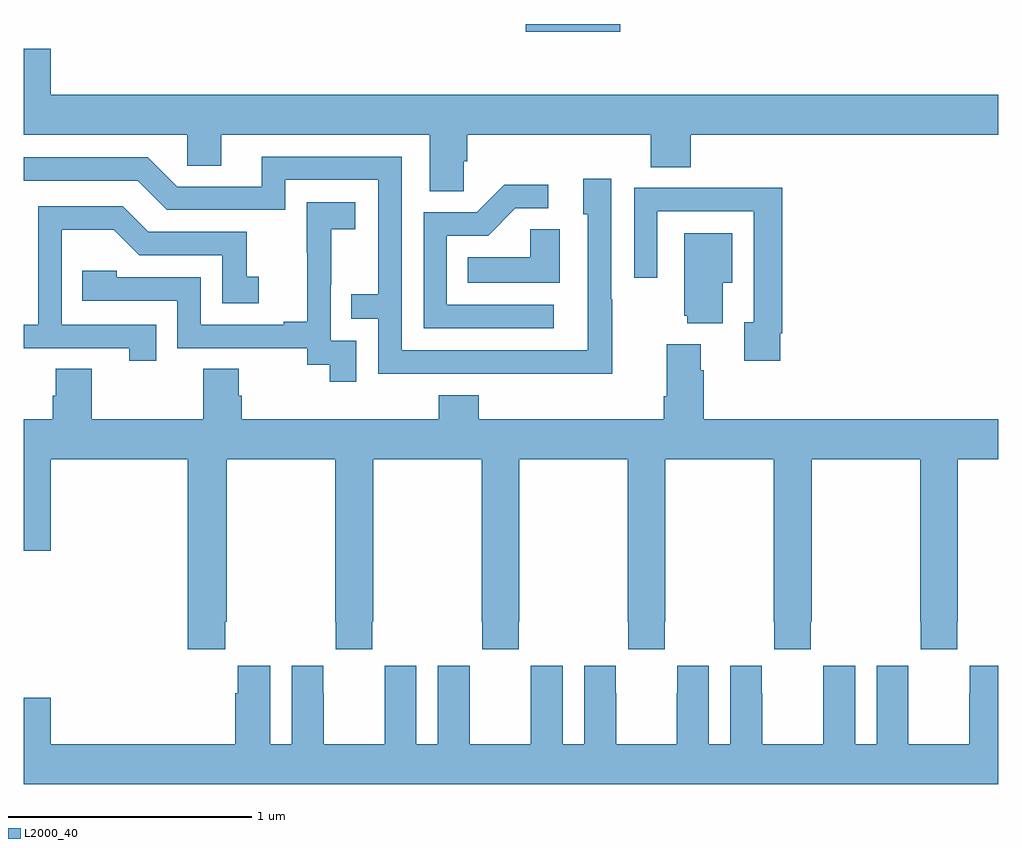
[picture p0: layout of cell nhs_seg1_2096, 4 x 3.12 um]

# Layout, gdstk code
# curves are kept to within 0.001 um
import gdstk
lib = gdstk.Library(unit=1e-6, precision=1e-09)
def R(c, l, rs):  # rectangles x0, y0, x1, y1
    for r in rs: c.add(gdstk.rectangle(r[:2], r[2:], *l))
def P(c, l, *ps):  # polygons
    for p in ps: c.add(gdstk.Polygon(p, *l))
L2000_40 = (2000, 40)

nhs_seg1_2096 = lib.new_cell('nhs_seg1_2096')
R(nhs_seg1_2096, L2000_40, [(227.06,540.167,227.449,540.199)])
P(nhs_seg1_2096, L2000_40, [(226.806,539.635),(226.82,539.635),(226.82,539.744),(227.573,539.744),(227.573,539.611),(227.738,539.611),(227.738,539.744),(229,539.744),(229,539.908),(225.112,539.908),(225.112,540.097),(225,540.097),(225,539.744),(225.672,539.744),(225.672,539.617),(225.811,539.617),(225.811,539.744),(226.667,539.744),(226.667,539.512),(226.806,539.512)],
  [(227.415,539.069),(227.412,539.069),(227.412,539.563),(227.297,539.563),(227.297,539.418),(227.316,539.418),(227.316,538.86),(226.551,538.86),(226.551,539.655),(225.977,539.655),(225.977,539.532),(225.63,539.532),(225.51,539.652),(225,539.652),(225,539.556),(225.468,539.556),(225.588,539.436),(226.074,539.436),(226.074,539.559),(226.455,539.559),(226.455,539.09),(226.345,539.09),(226.345,538.989),(226.455,538.989),(226.455,538.764),(227.415,538.763)],
  [(227.176,539.046),(226.737,539.046),(226.737,539.331),(226.906,539.331),(227.017,539.442),(227.152,539.442),(227.152,539.54),(226.973,539.54),(226.86,539.427),(226.641,539.427),(226.641,538.95),(227.176,538.95)],
  [(228.106,538.93),(228.113,538.93),(228.113,539.528),(227.821,539.528),(227.821,539.526),(227.505,539.526),(227.505,539.157),(227.601,539.157),(227.601,539.43),(227.997,539.43),(227.997,538.974),(227.957,538.974),(227.957,538.818),(228.106,538.818)],
  [(226.365,538.899),(226.26,538.899),(226.26,539.129),(226.262,539.129),(226.262,539.357),(226.36,539.357),(226.36,539.467),(226.162,539.467),(226.162,539.261),(226.163,539.261),(226.163,538.978),(226.067,538.978),(226.067,538.965),(225.726,538.965),(225.726,539.16),(225.381,539.16),(225.381,539.187),(225.241,539.187),(225.241,539.064),(225.63,539.064),(225.63,538.869),(226.164,538.869),(226.164,538.801),(226.257,538.801),(226.257,538.731),(226.365,538.731)],
  [(225.545,538.965),(225.156,538.965),(225.156,539.354),(225.37,539.354),(225.474,539.25),(225.816,539.25),(225.816,539.052),(225.964,539.052),(225.964,539.161),(225.915,539.161),(225.915,539.346),(225.511,539.346),(225.406,539.451),(225.06,539.451),(225.06,538.965),(225,538.965),(225,538.869),(225.434,538.869),(225.434,538.818),(225.545,538.818)],
  [(227.2,539.357),(227.079,539.357),(227.079,539.242),(226.822,539.242),(226.822,539.138),(227.2,539.138)],
  [(227.869,539.138),(227.908,539.138),(227.908,539.341),(227.711,539.341),(227.711,539.001),(227.723,539.001),(227.723,538.97),(227.869,538.97)],
  [(225.827,537.745),(225.834,537.745),(225.834,538.412),(226.279,538.412),(226.279,537.745),(226.281,537.745),(226.281,537.633),(226.431,537.633),(226.431,537.745),(226.434,537.745),(226.434,538.412),(226.879,538.412),(226.879,537.745),(226.881,537.745),(226.881,537.633),(227.031,537.633),(227.031,537.745),(227.034,537.745),(227.034,538.412),(227.479,538.412),(227.479,537.745),(227.481,537.745),(227.481,537.633),(227.631,537.633),(227.631,537.745),(227.634,537.745),(227.634,538.412),(228.079,538.412),(228.079,537.745),(228.081,537.745),(228.081,537.633),(228.231,537.633),(228.231,537.745),(228.234,537.745),(228.234,538.412),(228.679,538.412),(228.679,537.745),(228.681,537.745),(228.681,537.633),(228.831,537.633),(228.831,537.745),(228.834,537.745),(228.834,538.412),(229,538.412),(229,538.576),(227.792,538.576),(227.792,538.778),(227.779,538.778),(227.779,538.885),(227.639,538.885),(227.639,538.672),(227.627,538.672),(227.627,538.576),(226.868,538.576),(226.868,538.675),(226.703,538.675),(226.703,538.576),(225.896,538.576),(225.896,538.674),(225.883,538.674),(225.883,538.784),(225.736,538.784),(225.736,538.576),(225.279,538.576),(225.279,538.784),(225.131,538.784),(225.131,538.674),(225.119,538.674),(225.119,538.576),(225,538.576),(225,538.038),(225.112,538.038),(225.112,538.412),(225.674,538.412),(225.674,537.633),(225.827,537.633)],
  [(229,537.565),(228.882,537.565),(228.882,537.452),(228.881,537.452),(228.881,537.244),(228.631,537.244),(228.631,537.452),(228.63,537.452),(228.63,537.565),(228.5,537.565),(228.5,537.244),(228.412,537.244),(228.412,537.565),(228.282,537.565),(228.282,537.452),(228.281,537.452),(228.281,537.244),(228.031,537.244),(228.031,537.452),(228.03,537.452),(228.03,537.565),(227.9,537.565),(227.9,537.244),(227.812,537.244),(227.812,537.565),(227.682,537.565),(227.682,537.452),(227.681,537.452),(227.681,537.244),(227.431,537.244),(227.431,537.452),(227.43,537.452),(227.43,537.565),(227.3,537.565),(227.3,537.244),(227.212,537.244),(227.212,537.565),(227.082,537.565),(227.082,537.452),(227.081,537.452),(227.081,537.244),(226.831,537.244),(226.831,537.452),(226.83,537.452),(226.83,537.565),(226.7,537.565),(226.7,537.244),(226.612,537.244),(226.612,537.565),(226.482,537.565),(226.482,537.452),(226.481,537.452),(226.481,537.244),(226.231,537.244),(226.231,537.452),(226.23,537.452),(226.23,537.565),(226.1,537.565),(226.1,537.244),(226.012,537.244),(226.012,537.565),(225.878,537.565),(225.878,537.452),(225.869,537.452),(225.869,537.244),(225.112,537.244),(225.112,537.433),(225,537.433),(225,537.08),(229,537.08)])

lib.write_gds('nhs_seg1_2096.gds')
